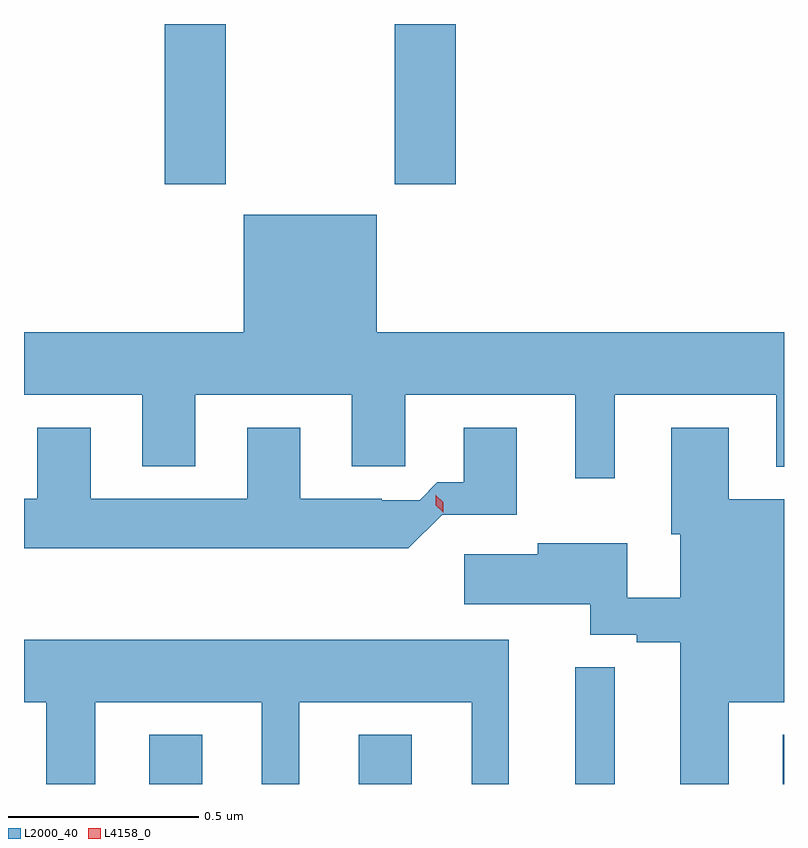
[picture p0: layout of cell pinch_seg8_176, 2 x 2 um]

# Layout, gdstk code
import gdstk
lib = gdstk.Library(unit=1e-6, precision=1e-09)
def R(c, l, rs):  # rectangles x0, y0, x1, y1
    for r in rs: c.add(gdstk.rectangle(r[:2], r[2:], *l))
def P(c, l, *ps):  # polygons
    for p in ps: c.add(gdstk.Polygon(p, *l))
L2000_40 = (2000, 40)
L4158_0 = (4158, 0)

pinch_seg8_176 = lib.new_cell('pinch_seg8_176')
R(pinch_seg8_176, L2000_40, [(645.743,1130.127,645.883,1130.257), (646.295,1130.127,646.435,1130.257), (646.865,1130.127,646.969,1130.434), (647.411,1130.127,647.414,1130.257), (645.785,1131.705,645.945,1132.127), (646.39,1131.705,646.55,1132.127)])
P(pinch_seg8_176, L2000_40, [(646.969,1131.152),(647.393,1131.152),(647.393,1130.962),(647.414,1130.962),(647.414,1131.316),(646.342,1131.316),(646.342,1131.625),(645.992,1131.625),(645.992,1131.316),(645.414,1131.316),(645.414,1131.152),(645.725,1131.152),(645.725,1130.963),(645.865,1130.963),(645.865,1131.152),(646.277,1131.152),(646.277,1130.963),(646.417,1130.963),(646.417,1131.152),(646.865,1131.152),(646.865,1130.931),(646.969,1130.931)],
  [(646.514,1130.836),(646.711,1130.836),(646.711,1131.064),(646.571,1131.064),(646.571,1130.921),(646.502,1130.921),(646.455,1130.874),(646.355,1130.874),(646.355,1130.878),(646.141,1130.878),(646.141,1131.064),(646.001,1131.064),(646.001,1130.878),(645.589,1130.878),(645.589,1131.064),(645.449,1131.064),(645.449,1130.878),(645.414,1130.878),(645.414,1130.747),(646.425,1130.747)],
  [(647.269,1130.342),(647.414,1130.342),(647.414,1130.877),(647.269,1130.877),(647.269,1131.064),(647.117,1131.064),(647.117,1130.784),(647.141,1130.784),(647.141,1130.617),(647.002,1130.617),(647.002,1130.761),(646.766,1130.761),(646.766,1130.731),(646.572,1130.731),(646.572,1130.6),(646.904,1130.6),(646.904,1130.52),(647.027,1130.52),(647.027,1130.5),(647.141,1130.5),(647.141,1130.127),(647.269,1130.127)],
  [(645.601,1130.342),(646.04,1130.342),(646.04,1130.127),(646.138,1130.127),(646.138,1130.342),(646.592,1130.342),(646.592,1130.127),(646.69,1130.127),(646.69,1130.506),(645.414,1130.506),(645.414,1130.342),(645.473,1130.342),(645.473,1130.127),(645.601,1130.127)])
P(pinch_seg8_176, L4158_0, [(646.517,1130.841),(646.517,1130.842),(646.498,1130.861),(646.498,1130.887),(646.498,1130.888),(646.498,1130.887),(646.517,1130.868),(646.517,1130.842)])

lib.write_gds('pinch_seg8_176.gds')
